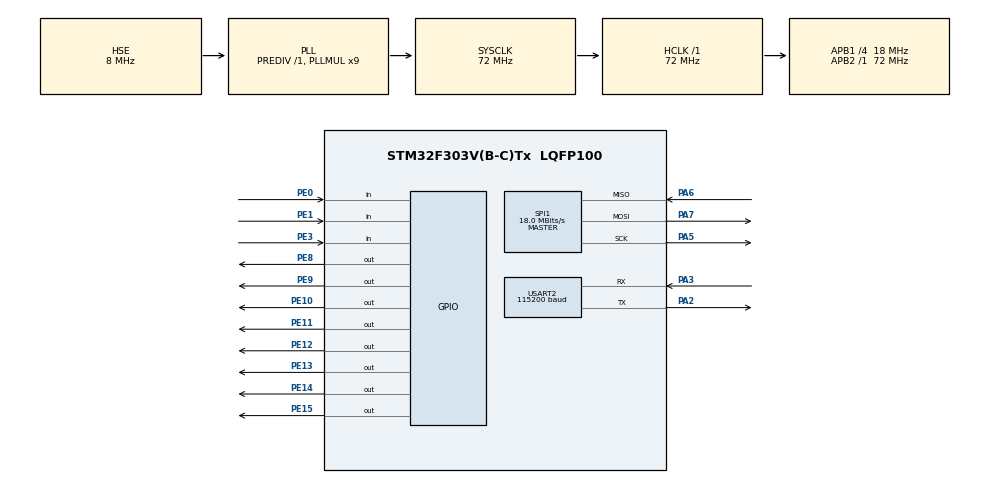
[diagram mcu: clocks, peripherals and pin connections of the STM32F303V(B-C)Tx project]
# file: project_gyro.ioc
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Dma.Request0=SPI1_TX
Dma.SPI1_TX.0.Direction=DMA_MEMORY_TO_PERIPH
Dma.SPI1_TX.0.Instance=DMA1_Channel3
Dma.SPI1_TX.0.MemDataAlignment=DMA_MDATAALIGN_BYTE
Dma.SPI1_TX.0.MemInc=DMA_MINC_ENABLE
Dma.SPI1_TX.0.Mode=DMA_NORMAL
Dma.SPI1_TX.0.PeriphDataAlignment=DMA_PDATAALIGN_BYTE
Dma.SPI1_TX.0.PeriphInc=DMA_PINC_DISABLE
Dma.SPI1_TX.0.Priority=DMA_PRIORITY_LOW
Mcu.Family=STM32F3
Mcu.Name=STM32F303V(B-C)Tx
Mcu.Package=LQFP100
NVIC.DMA1_Channel3_IRQn=true\:0\:0\:false\:false\:true\:false\:true
NVIC.PriorityGroup=NVIC_PRIORITYGROUP_4
PA13.Mode=Trace_Asynchronous_SW
PA13.Signal=SYS_JTMS-SWDIO
PA14.Mode=Trace_Asynchronous_SW
PA14.Signal=SYS_JTCK-SWCLK
PA2.Mode=Asynchronous
PA2.Signal=USART2_TX
PA3.Mode=Asynchronous
PA3.Signal=USART2_RX
PA5.Mode=Full_Duplex_Master
PA5.Signal=SPI1_SCK
PA6.Mode=Full_Duplex_Master
PA6.Signal=SPI1_MISO
PA7.Mode=Full_Duplex_Master
PA7.Signal=SPI1_MOSI
PB3.Mode=Trace_Asynchronous_SW
PB3.Signal=SYS_JTDO-TRACESWO
PE0.Signal=GPIO_Input
PE1.Signal=GPIO_Input
PE10.Signal=GPIO_Output
PE11.Signal=GPIO_Output
PE12.Signal=GPIO_Output
PE13.Signal=GPIO_Output
PE14.Signal=GPIO_Output
PE15.Signal=GPIO_Output
PE3.Signal=GPIO_Input
PE8.Signal=GPIO_Output
PE9.Signal=GPIO_Output
PF0-OSC_IN.Mode=HSE-External-Oscillator
PF0-OSC_IN.Signal=RCC_OSC_IN
PF1-OSC_OUT.Mode=HSE-External-Oscillator
PF1-OSC_OUT.Signal=RCC_OSC_OUT
ProjectManager.HeapSize=0x200
ProjectManager.StackSize=0x400
ProjectManager.TargetToolchain=STM32CubeIDE
RCC.AHBFreq_Value=72000000
RCC.APB1CLKDivider=RCC_HCLK_DIV4
RCC.APB1Freq_Value=18000000
RCC.APB1TimFreq_Value=36000000
RCC.APB2Freq_Value=72000000
RCC.APB2TimFreq_Value=72000000
RCC.CortexFreq_Value=72000000
RCC.HCLKFreq_Value=72000000
RCC.HSE_VALUE=8000000
RCC.HSI_VALUE=8000000
RCC.LSE_VALUE=32768
RCC.PLLMUL=RCC_PLL_MUL9
RCC.PLLSourceVirtual=RCC_PLLSOURCE_HSE
RCC.SYSCLKFreq_VALUE=72000000
RCC.SYSCLKSourceVirtual=RCC_SYSCLKSOURCE_PLLCLK
RCC.USBFreq_Value=72000000
SPI1.BaudRatePrescaler=SPI_BAUDRATEPRESCALER_4
SPI1.CalculateBaudRate=18.0 MBits/s
SPI1.DataSize=SPI_DATASIZE_8BIT
SPI1.Direction=SPI_DIRECTION_2LINES
SPI1.Mode=SPI_MODE_MASTER
SPI1.VirtualType=VM_MASTER
USART2.BaudRate=115200
USART2.VirtualMode-Asynchronous=VM_ASYNC
board=custom

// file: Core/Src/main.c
/* USER CODE BEGIN Header */
/**
  ******************************************************************************
  * @file           : main.c
  * @brief          : Main program body
  ******************************************************************************
  * @attention
  *
  * <h2><center>&copy; Copyright (c) 2023 STMicroelectronics.
  * All rights reserved.</center></h2>
  *
  * This software component is licensed by ST under BSD 3-Clause license,
  * the "License"; You may not use this file except in compliance with the
  * License. You may obtain a copy of the License at:
  *                        opensource.org/licenses/BSD-3-Clause
  *
  ******************************************************************************
  */
/* USER CODE END Header */

#include "main.h"

/* USER CODE BEGIN Includes */
#include "stdio.h"
#include "stdlib.h"
/* USER CODE END Includes */

/* USER CODE BEGIN PD */
//#define BUFSIZ
/* USER CODE END PD */

/* USER CODE BEGIN PM */

#define ITM_Port32(n) (*((volatile unsigned long *)(0xE0000000+4*n)))
/* USER CODE END PM */

SPI_HandleTypeDef hspi1;
DMA_HandleTypeDef hdma_spi1_tx;

UART_HandleTypeDef huart2;

/* USER CODE BEGIN PV */

float x_val=0;
float y_val=0;
float z_val=0;
float buffer[3]={0, 0, 0};
float prev_buffer[3]={0, 0, 0};
float x_result_angle = 0.;
float y_result_angle = 0.;
float z_result_angle = 0.;
uint16_t delta =500;
uint8_t print_time = 0;
float XYZ_results[3];

float sens;//coef
uint16_t time_delay=100; //ms
float time_query =0.;//ms

float x = 0;
float abs_x = 0;
float y = 0;
float abs_y = 0;

/* USER CODE END PV */

void SystemClock_Config(void);
static void MX_GPIO_Init(void);
static void MX_DMA_Init(void);
static void MX_SPI1_Init(void);
static void MX_USART2_UART_Init(void);
/* USER CODE BEGIN PFP */
void GYRO_READ_ANGLE_III(float* buffer, float sens_coef, float time_delay);
void LED_ON_III(uint8_t led);
void LEDS_OFF_III(void);
float ABS(float num);
void HAL_SPI_TxCpltCallback(SPI_HandleTypeDef *hspi);
/* USER CODE END PFP */

/* USER CODE BEGIN 0 */
int _write(int file, char *ptr, int len){
	int i = 0;
	for(i=0;i<len;i++){
		ITM_SendChar((*ptr++));
	}
	return len;
}

/* USER CODE END 0 */

int main(void)
{

  /* MCU Configuration--------------------------------------------------------*/

  /* Reset of all peripherals, Initializes the Flash interface and the Systick. */
  HAL_Init();

  /* Configure the system clock */
  SystemClock_Config();

  /* USER CODE BEGIN SysInit */
  // ITM_Port32(31)=1;

  /* USER CODE END SysInit */

  /* Initialize all configured peripherals */
  MX_GPIO_Init();
  MX_DMA_Init();
  MX_SPI1_Init();
  MX_USART2_UART_Init();
  /* USER CODE BEGIN 2 */

//  L3GD20_Init(0);
//  uint8_t gyro_id = L3GD20_ReadID();
//  uint8_t gyro_status = L3GD20_GetDataStatus();

  //HAL_TIM_Base_Start(&htim3);
  //HAL_TIM_Base_Start_IT(&htim3);

  //Через вложенности:
  BSP_GYRO_Init();
  BSP_GYRO_ReadID();
  printf("System Init Done \r\n");
  //HAL_GPIO_WritePin(GPIOE, GPIO_PIN_14, GPIO_PIN_SET);

  	uint8_t tmpreg = 0;
	GYRO_IO_Read(&tmpreg,L3GD20_CTRL_REG4_ADDR,1);
	printf("This is tmpreg %i\r\n", tmpreg);
	tmpreg =0b00010000;
	GYRO_IO_Write(&tmpreg, L3GD20_CTRL_REG4_ADDR, 1);
	printf("This is tmpreg %i\r\n", tmpreg);

	if (tmpreg==0){
		//200dps
		time_query=1000/200;
		sens =0.00875;
	} else if(tmpreg==32){
		//2000dps
		time_query=1000/2000;
		sens = 0.07;
	} else{
		//500dps
		time_query=1000/500;
		sens = 0.0175;
	}

  /* USER CODE END 2 */

  /* Infinite loop */
  while (1)
  {

    /* USER CODE BEGIN 3 */
	  GYRO_READ_ANGLE_III(XYZ_results, sens, ((float)time_delay+time_query)/1000);
	  x_result_angle = XYZ_results[0];
	  y_result_angle = XYZ_results[1];
	  z_result_angle = XYZ_results[2];

	  if(print_time%(10)==0){
		  print_time=0;
		 // HAL_GPIO_TogglePin(GPIOE, GPIO_PIN_14);
		  printf("Angle(x) = %f\r\n", XYZ_results[0]);
		  printf("Angle(y) = %f\r\n", XYZ_results[1]);
		  printf("Angle(z) = %f\r\n", XYZ_results[2]);
		  printf("=============================\r\n");

	  }

	  x = x_result_angle;
	  abs_x = ABS(x_result_angle);
	  y = y_result_angle;
	  abs_y = ABS(y_result_angle);
//	  printf("x = %f\r\n", x);
//	  printf("abs_x = %f\r\n", abs_x);
//	  printf("y = %f\r\n", y);
//	  printf("abs_y = %f\r\n", abs_y);

	  if ((abs_x>10.)||(abs_y>10.)){
		  //diag leds
		  if((abs_x >0.5*abs_y)&&(abs_x <1.5*abs_y)){
			  if(x>0. && y >0.){
				  LED_ON_III(12);
			  }else if (x<0. && y >0.){
				  LED_ON_III(10);
			  }else if (x>0. && y <0.){
				  LED_ON_III(14);
			  }else if(x<0. && y <0.){
				  LED_ON_III(8);
			  }
		  } else{
  			  if(abs_x>abs_y){
  				  if(x>0){
  					  LED_ON_III(13);
  				  }else{
  					  LED_ON_III(9);
  				  }
  			  }else{
  				  if(y>0){
  					  LED_ON_III(11);
  				  }else{
  					  LED_ON_III(15);
  				  }
  			  }
			  //LEDS_OFF_III();
		  }
	  } else{
		  LEDS_OFF_III();
	  }

	  print_time+=1;
	  HAL_Delay(time_delay);

  }
  /* USER CODE END 3 */
}

void SystemClock_Config(void)
{
  RCC_OscInitTypeDef RCC_OscInitStruct = {0};
  RCC_ClkInitTypeDef RCC_ClkInitStruct = {0};
  RCC_PeriphCLKInitTypeDef PeriphClkInit = {0};

  /** Initializes the CPU, AHB and APB busses clocks
  */
  RCC_OscInitStruct.OscillatorType = RCC_OSCILLATORTYPE_HSE;
  RCC_OscInitStruct.HSEState = RCC_HSE_ON;
  RCC_OscInitStruct.HSEPredivValue = RCC_HSE_PREDIV_DIV1;
  RCC_OscInitStruct.HSIState = RCC_HSI_ON;
  RCC_OscInitStruct.PLL.PLLState = RCC_PLL_ON;
  RCC_OscInitStruct.PLL.PLLSource = RCC_PLLSOURCE_HSE;
  RCC_OscInitStruct.PLL.PLLMUL = RCC_PLL_MUL9;
  if (HAL_RCC_OscConfig(&RCC_OscInitStruct) != HAL_OK)
  {
    Error_Handler();
  }
  /** Initializes the CPU, AHB and APB busses clocks
  */
  RCC_ClkInitStruct.ClockType = RCC_CLOCKTYPE_HCLK|RCC_CLOCKTYPE_SYSCLK
                              |RCC_CLOCKTYPE_PCLK1|RCC_CLOCKTYPE_PCLK2;
  RCC_ClkInitStruct.SYSCLKSource = RCC_SYSCLKSOURCE_PLLCLK;
  RCC_ClkInitStruct.AHBCLKDivider = RCC_SYSCLK_DIV1;
  RCC_ClkInitStruct.APB1CLKDivider = RCC_HCLK_DIV4;
  RCC_ClkInitStruct.APB2CLKDivider = RCC_HCLK_DIV1;

  if (HAL_RCC_ClockConfig(&RCC_ClkInitStruct, FLASH_LATENCY_2) != HAL_OK)
  {
    Error_Handler();
  }
  PeriphClkInit.PeriphClockSelection = RCC_PERIPHCLK_USART2;
  PeriphClkInit.Usart2ClockSelection = RCC_USART2CLKSOURCE_PCLK1;
  if (HAL_RCCEx_PeriphCLKConfig(&PeriphClkInit) != HAL_OK)
  {
    Error_Handler();
  }
}

static void MX_SPI1_Init(void)
{

  /* SPI1 parameter configuration*/
  hspi1.Instance = SPI1;
  hspi1.Init.Mode = SPI_MODE_MASTER;
  hspi1.Init.Direction = SPI_DIRECTION_2LINES;
  hspi1.Init.DataSize = SPI_DATASIZE_8BIT;
  hspi1.Init.CLKPolarity = SPI_POLARITY_LOW;
  hspi1.Init.CLKPhase = SPI_PHASE_1EDGE;
  hspi1.Init.NSS = SPI_NSS_SOFT;
  hspi1.Init.BaudRatePrescaler = SPI_BAUDRATEPRESCALER_4;
  hspi1.Init.FirstBit = SPI_FIRSTBIT_MSB;
  hspi1.Init.TIMode = SPI_TIMODE_DISABLE;
  hspi1.Init.CRCCalculation = SPI_CRCCALCULATION_DISABLE;
  hspi1.Init.CRCPolynomial = 7;
  hspi1.Init.CRCLength = SPI_CRC_LENGTH_DATASIZE;
  hspi1.Init.NSSPMode = SPI_NSS_PULSE_ENABLE;
  if (HAL_SPI_Init(&hspi1) != HAL_OK)
  {
    Error_Handler();
  }

}

static void MX_USART2_UART_Init(void)
{

  huart2.Instance = USART2;
  huart2.Init.BaudRate = 115200;
  huart2.Init.WordLength = UART_WORDLENGTH_8B;
  huart2.Init.StopBits = UART_STOPBITS_1;
  huart2.Init.Parity = UART_PARITY_NONE;
  huart2.Init.Mode = UART_MODE_TX_RX;
  huart2.Init.HwFlowCtl = UART_HWCONTROL_NONE;
  huart2.Init.OverSampling = UART_OVERSAMPLING_16;
  huart2.Init.OneBitSampling = UART_ONE_BIT_SAMPLE_DISABLE;
  huart2.AdvancedInit.AdvFeatureInit = UART_ADVFEATURE_NO_INIT;
  if (HAL_UART_Init(&huart2) != HAL_OK)
  {
    Error_Handler();
  }

}

static void MX_DMA_Init(void)
{

  /* DMA controller clock enable */
  __HAL_RCC_DMA1_CLK_ENABLE();

  /* DMA interrupt init */
  /* DMA1_Channel3_IRQn interrupt configuration */
  HAL_NVIC_SetPriority(DMA1_Channel3_IRQn, 0, 0);
  HAL_NVIC_EnableIRQ(DMA1_Channel3_IRQn);

}

static void MX_GPIO_Init(void)
{
  GPIO_InitTypeDef GPIO_InitStruct = {0};

  /* GPIO Ports Clock Enable */
  __HAL_RCC_GPIOE_CLK_ENABLE();
  __HAL_RCC_GPIOF_CLK_ENABLE();
  __HAL_RCC_GPIOA_CLK_ENABLE();
  __HAL_RCC_GPIOB_CLK_ENABLE();

  /*Configure GPIO pin Output Level */
  HAL_GPIO_WritePin(GPIOE, GPIO_PIN_8|GPIO_PIN_9|GPIO_PIN_10|GPIO_PIN_11
                          |GPIO_PIN_12|GPIO_PIN_13|GPIO_PIN_14|GPIO_PIN_15, GPIO_PIN_RESET);

  /*Configure GPIO pins : PE3 PE0 PE1 */
  GPIO_InitStruct.Pin = GPIO_PIN_3|GPIO_PIN_0|GPIO_PIN_1;
  GPIO_InitStruct.Mode = GPIO_MODE_INPUT;
  GPIO_InitStruct.Pull = GPIO_NOPULL;
  HAL_GPIO_Init(GPIOE, &GPIO_InitStruct);

  /*Configure GPIO pins : PE8 PE9 PE10 PE11
                           PE12 PE13 PE14 PE15 */
  GPIO_InitStruct.Pin = GPIO_PIN_8|GPIO_PIN_9|GPIO_PIN_10|GPIO_PIN_11
                          |GPIO_PIN_12|GPIO_PIN_13|GPIO_PIN_14|GPIO_PIN_15;
  GPIO_InitStruct.Mode = GPIO_MODE_OUTPUT_PP;
  GPIO_InitStruct.Pull = GPIO_NOPULL;
  GPIO_InitStruct.Speed = GPIO_SPEED_FREQ_LOW;
  HAL_GPIO_Init(GPIOE, &GPIO_InitStruct);

}

/* USER CODE BEGIN 4 */
void HAL_SPI_TxCpltCallback(SPI_HandleTypeDef *hspi){
	if(hspi->Instance ==SPI1){
		printf("Data translate by SPI was done \r\n");
	}

//void HAL_TIM_PeriodElapsedCallback(TIM_HandleTypeDef *htim){
//	HAL_GPIO_WritePin(GPIOE, GPIO_PIN_13, GPIO_PIN_SET);
//	if(htim->Instance==TIM3){
//		HAL_GPIO_TogglePin(GPIOE, GPIO_PIN_13);
//	}

//}
}

void GYRO_READ_ANGLE_III(float * buffer, float sens_coef, float time_delay){
	//printf("from func\r\n");
	uint8_t x_val_low, x_val_high;
	uint8_t y_val_low, y_val_high;
	uint8_t z_val_low, z_val_high;
	uint16_t results[3];
	uint8_t signs[3];
	float deriv=0.;

	GYRO_IO_Read(&x_val_low,L3GD20_OUT_X_L_ADDR,1);
	GYRO_IO_Read(&x_val_high,L3GD20_OUT_X_H_ADDR,1);

	GYRO_IO_Read(&y_val_low,L3GD20_OUT_Y_L_ADDR,1);
	GYRO_IO_Read(&y_val_high,L3GD20_OUT_Y_H_ADDR,1);

	GYRO_IO_Read(&z_val_low,L3GD20_OUT_Z_L_ADDR,1);
	GYRO_IO_Read(&z_val_high,L3GD20_OUT_Z_H_ADDR,1);

	results[0] =  x_val_low|(x_val_high<<8);
	results[1] =  y_val_low|(y_val_high<<8);
	results[2] =  z_val_low|(z_val_high<<8);

	for (uint8_t i =0; i<3;i++){
		//if ((results[i]>0b0000000000001111)&&(results[i]<0b1111000000000000)){
		//if (1){
			//printf("result(%i) = %i\r\n", i, results[i]);
			if((results[i]&0b1000000000000000)==0){
				signs[i] = 0;
			}else{
				signs[i]=1;
				results[i]&=0b0111111111111111;
				results[i]=0b1000000000000000-results[i];
			}
			deriv = sens_coef*results[i]*time_delay;
			if (abs(deriv)>0.02){
				if (signs[i]) {buffer[i]-=deriv;}
				else {buffer[i]+=deriv;}
			}

//		}else{
//			results[i]=0;
//		}

	}

}

void LED_ON_III(uint8_t led){
	uint16_t gpios[8]={GPIO_PIN_8, GPIO_PIN_9, GPIO_PIN_10,
			GPIO_PIN_11, GPIO_PIN_12, GPIO_PIN_13,
			GPIO_PIN_14,GPIO_PIN_15};
	for (uint8_t k=0; k<8; k++){
		HAL_GPIO_WritePin(GPIOE, gpios[k], GPIO_PIN_RESET);
	}
	HAL_GPIO_WritePin(GPIOE, gpios[led-8], GPIO_PIN_SET);
}

void LEDS_OFF_III(void){
	uint16_t gpios[8]={GPIO_PIN_8, GPIO_PIN_9, GPIO_PIN_10,
				GPIO_PIN_11, GPIO_PIN_12, GPIO_PIN_13,
				GPIO_PIN_14,GPIO_PIN_15};
		for (uint8_t k=0; k<8; k++){
			HAL_GPIO_WritePin(GPIOE, gpios[k], GPIO_PIN_RESET);
		}
}
float ABS(float num){
	return num>0?num:-num;
}
/* USER CODE END 4 */

void Error_Handler(void)
{
}

/************************ (C) COPYRIGHT STMicroelectronics *****END OF FILE****/
